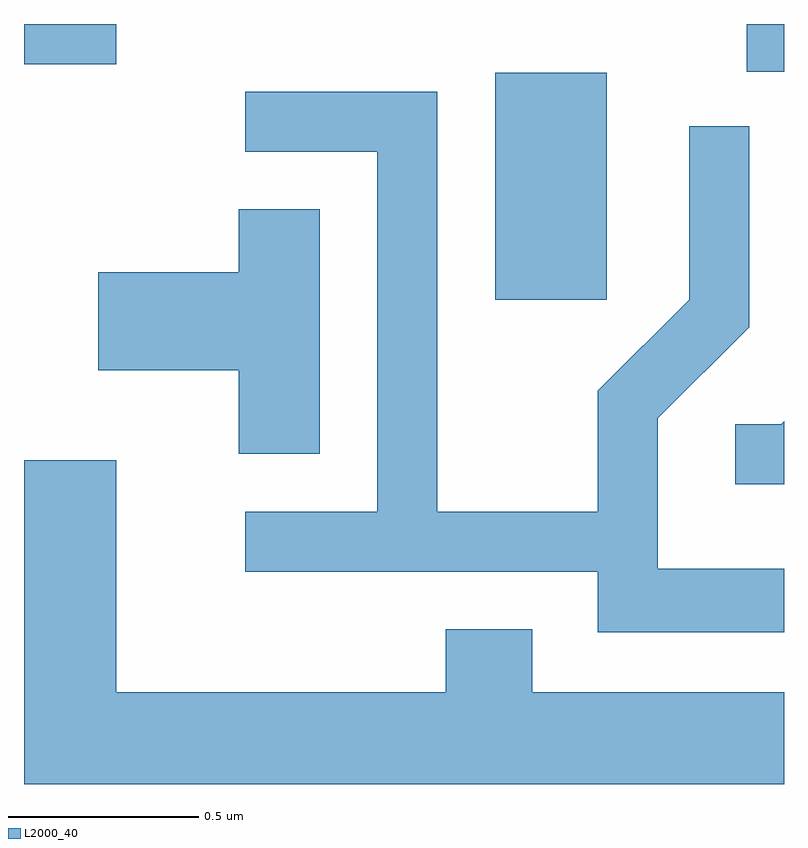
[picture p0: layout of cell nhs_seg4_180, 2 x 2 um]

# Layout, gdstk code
import gdstk
lib = gdstk.Library(unit=1e-6, precision=1e-09)
def R(c, l, rs):  # rectangles x0, y0, x1, y1
    for r in rs: c.add(gdstk.rectangle(r[:2], r[2:], *l))
def P(c, l, *ps):  # polygons
    for p in ps: c.add(gdstk.Polygon(p, *l))
L2000_40 = (2000, 40)

nhs_seg4_180 = lib.new_cell('nhs_seg4_180')
R(nhs_seg4_180, L2000_40, [(187.851,1298.256,188.144,1298.854), (188.513,1298.856,188.611,1298.982), (186.611,1298.876,186.854,1298.982)])
P(nhs_seg4_180, L2000_40, [(188.611,1297.549),(188.279,1297.549),(188.279,1297.944),(188.519,1298.184),(188.519,1298.713),(188.361,1298.713),(188.361,1298.257),(188.121,1298.017),(188.121,1297.699),(187.699,1297.699),(187.699,1298.804),(187.193,1298.804),(187.193,1298.646),(187.541,1298.646),(187.541,1297.699),(187.193,1297.699),(187.193,1297.541),(188.121,1297.541),(188.121,1297.381),(188.611,1297.381)],
  [(187.389,1298.494),(187.176,1298.494),(187.176,1298.329),(186.806,1298.329),(186.806,1298.071),(187.176,1298.071),(187.176,1297.851),(187.389,1297.851)],
  [(188.611,1297.936),(188.604,1297.929),(188.483,1297.929),(188.483,1297.771),(188.611,1297.771)],
  [(188.611,1297.224),(187.949,1297.224),(187.949,1297.389),(187.721,1297.389),(187.721,1297.224),(186.854,1297.224),(186.854,1297.834),(186.611,1297.834),(186.611,1296.982),(188.611,1296.982)])

lib.write_gds('nhs_seg4_180.gds')
